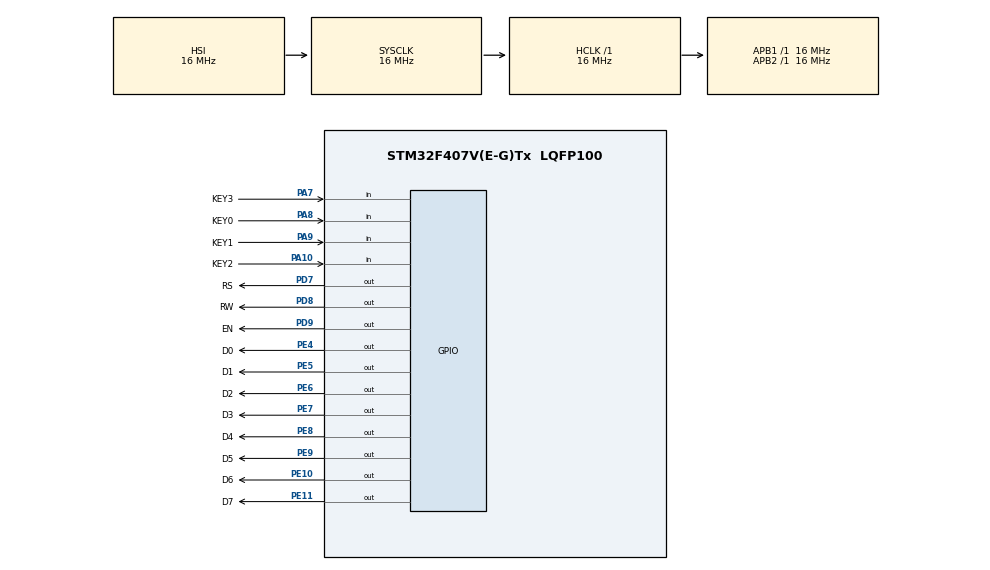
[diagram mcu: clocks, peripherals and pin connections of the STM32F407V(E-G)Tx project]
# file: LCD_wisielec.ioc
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Mcu.Family=STM32F4
Mcu.Name=STM32F407V(E-G)Tx
Mcu.Package=LQFP100
NVIC.PriorityGroup=NVIC_PRIORITYGROUP_4
NVIC.TIM1_UP_TIM10_IRQn=true\:0\:0\:false\:false\:true\:true
PA10.GPIO_Label=KEY2
PA10.GPIO_PuPd=GPIO_PULLDOWN
PA10.Signal=GPIO_Input
PA7.GPIO_Label=KEY3
PA7.GPIO_PuPd=GPIO_PULLDOWN
PA7.Signal=GPIO_Input
PA8.GPIO_Label=KEY0
PA8.GPIO_PuPd=GPIO_PULLDOWN
PA8.Signal=GPIO_Input
PA9.GPIO_Label=KEY1
PA9.GPIO_PuPd=GPIO_PULLDOWN
PA9.Signal=GPIO_Input
PD7.GPIO_Label=RS
PD7.Signal=GPIO_Output
PD8.GPIO_Label=RW
PD8.Signal=GPIO_Output
PD9.GPIO_Label=EN
PD9.Signal=GPIO_Output
PE10.GPIO_Label=D6
PE10.Signal=GPIO_Output
PE11.GPIO_Label=D7
PE11.Signal=GPIO_Output
PE4.GPIO_Label=D0
PE4.Signal=GPIO_Output
PE5.GPIO_Label=D1
PE5.Signal=GPIO_Output
PE6.GPIO_Label=D2
PE6.Signal=GPIO_Output
PE7.GPIO_Label=D3
PE7.Signal=GPIO_Output
PE8.GPIO_Label=D4
PE8.Signal=GPIO_Output
PE9.GPIO_Label=D5
PE9.Signal=GPIO_Output
PH0-OSC_IN.Mode=HSE-External-Oscillator
PH0-OSC_IN.Signal=RCC_OSC_IN
PH1-OSC_OUT.Mode=HSE-External-Oscillator
PH1-OSC_OUT.Signal=RCC_OSC_OUT
ProjectManager.HeapSize=0x200
ProjectManager.StackSize=0x400
ProjectManager.TargetToolchain=SW4STM32
RCC.48MHZClocksFreq_Value=24000000
RCC.AHBFreq_Value=16000000
RCC.APB1Freq_Value=16000000
RCC.APB1TimFreq_Value=16000000
RCC.APB2Freq_Value=16000000
RCC.APB2TimFreq_Value=16000000
RCC.CortexFreq_Value=16000000
RCC.HCLKFreq_Value=16000000
RCC.HSE_VALUE=8000000
RCC.HSI_VALUE=16000000
RCC.LSE_VALUE=32768
RCC.PLLSourceVirtual=RCC_PLLSOURCE_HSE
RCC.SYSCLKFreq_VALUE=16000000
RCC.VCOOutputFreq_Value=96000000
TIM10.Period=999
TIM10.Prescaler=255
VP_TIM10_VS_ClockSourceINT.Mode=Enable_Timer
board=LCD_wisielec

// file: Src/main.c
/**
  ******************************************************************************
  * @file           : main.c
  * @brief          : Main program body
  ******************************************************************************
  ** This notice applies to any and all portions of this file
  * that are not between comment pairs USER CODE BEGIN and
  * USER CODE END. Other portions of this file, whether
  * inserted by the user or by software development tools
  * are owned by their respective copyright owners.
  *
  * COPYRIGHT(c) 2018 STMicroelectronics
  *
  * Redistribution and use in source and binary forms, with or without modification,
  * are permitted provided that the following conditions are met:
  *   1. Redistributions of source code must retain the above copyright notice,
  *      this list of conditions and the following disclaimer.
  *   2. Redistributions in binary form must reproduce the above copyright notice,
  *      this list of conditions and the following disclaimer in the documentation
  *      and/or other materials provided with the distribution.
  *   3. Neither the name of STMicroelectronics nor the names of its contributors
  *      may be used to endorse or promote products derived from this software
  *      without specific prior written permission.
  *
  * THIS SOFTWARE IS PROVIDED BY THE COPYRIGHT HOLDERS AND CONTRIBUTORS "AS IS"
  * AND ANY EXPRESS OR IMPLIED WARRANTIES, INCLUDING, BUT NOT LIMITED TO, THE
  * IMPLIED WARRANTIES OF MERCHANTABILITY AND FITNESS FOR A PARTICULAR PURPOSE ARE
  * DISCLAIMED. IN NO EVENT SHALL THE COPYRIGHT HOLDER OR CONTRIBUTORS BE LIABLE
  * FOR ANY DIRECT, INDIRECT, INCIDENTAL, SPECIAL, EXEMPLARY, OR CONSEQUENTIAL
  * DAMAGES (INCLUDING, BUT NOT LIMITED TO, PROCUREMENT OF SUBSTITUTE GOODS OR
  * SERVICES; LOSS OF USE, DATA, OR PROFITS; OR BUSINESS INTERRUPTION) HOWEVER
  * CAUSED AND ON ANY THEORY OF LIABILITY, WHETHER IN CONTRACT, STRICT LIABILITY,
  * OR TORT (INCLUDING NEGLIGENCE OR OTHERWISE) ARISING IN ANY WAY OUT OF THE USE
  * OF THIS SOFTWARE, EVEN IF ADVISED OF THE POSSIBILITY OF SUCH DAMAGE.
  *
  ******************************************************************************
  */
#include "main.h"
#include "stm32f4xx_hal.h"

/* USER CODE BEGIN Includes */
#include "LCD.h"

/* USER CODE END Includes */

TIM_HandleTypeDef htim10;

/* USER CODE BEGIN PV */
/* Private variables ---------------------------------------------------------*/

volatile unsigned char kl_ENTER = 0;	//przycisk ENTER (KEY0)
volatile unsigned char kl_UP = 0;		//przycisk UP (KEY1)
volatile unsigned char kl_DOWN = 0;		//przycisk DOWN (KEY2)
volatile unsigned char kl_CANCEL = 0;	//przycisk CANCELv(KEY3)
volatile int licznik = 0; 	//zmienna regulujaca czestotliwosc zapalania sie i wylaczania modyfikowanej diody

union {		//do obs³ugi przycisków -> w przerwaniu ISR
 struct {
  unsigned char ENTER:1;	//LSB
  unsigned char UP:1;
  unsigned char DOWN:1;
  unsigned char CANCEL:1;
  unsigned char ENTER_PREV:1;
  unsigned char UP_PREV:1;
  unsigned char DOWN_PREV:1;
  unsigned char CANCEL_PREV:1; //MSB
 } flags;
  char byte;
} key;

union {		//do obs³ugi przycisków -> w przerwaniu ISR
 struct {
  unsigned char ENTER:1;	   //LSB
  unsigned char UP:1;
  unsigned char DOWN:1;
  unsigned char CANCEL:1;
  unsigned char ENTER_PREV:1;
  unsigned char UP_PREV:1;
  unsigned char DOWN_PREV:1;
  unsigned char CANCEL_PREV:1;
  unsigned char ENTER_PREV1:1;
  unsigned char UP_PREV1:1;
  unsigned char DOWN_PREV1:1;
  unsigned char CANCEL_PREV1:1;
  unsigned char ENTER_PREV2:1;
  unsigned char UP_PREV2:1;
  unsigned char DOWN_PREV2:1;
  unsigned char CANCEL_PREV2:1; //MSB
  } flags;
  int word;
} falling_slope;

signed char cyfry[6] = {0, 0, 0, 0, 0, 0};	//wartoœci tablicy modyfikowane s¹ przyciskami
volatile signed char kopia[6] = {0, 0, 0, 0, 0, 0};   //kopia wartosci, uzyta pozniej w przyadku przycisku CANCEL
volatile signed char enter = 0;		//zmienna przechowujaca aktualna ilosc klikniec przycisku ENTER % 5
volatile unsigned char miganie = 0;	//zmienna bezposrednio wskazujaca na zapalenie lub nie modyfikowanego znaku

/* USER CODE END PV */

void SystemClock_Config(void);
static void MX_GPIO_Init(void);
static void MX_TIM10_Init(void);

/* USER CODE BEGIN PFP */
/* Private function prototypes -----------------------------------------------*/

/* USER CODE END PFP */

int main(void)
{
  /* USER CODE BEGIN 1 */
	int znaki_hasla = 1;
	char flaga = 0;
	char haslo[10] = {0};
	char kopia_hasla[10] = {0};
	signed char znak = 0;
	char pozycja = 1;
	int numer_znaku = 0;
	unsigned char zle = 0;
	int i = 0;
	int sprawdzone_znaki = 1;
	char znaleziony_znak = 0;
	key.byte = 0xFF;   				//inicjalizacja flag stanami nieaktywnymi
	falling_slope.word = 0x0000; 	//inicjalizacja flag stanami nieaktywnymi
  /* USER CODE END 1 */

  /* MCU Configuration----------------------------------------------------------*/

  /* Reset of all peripherals, Initializes the Flash interface and the Systick. */
  HAL_Init();

  /* Configure the system clock */
  SystemClock_Config();

  /* Initialize all configured peripherals */
  MX_GPIO_Init();
  MX_TIM10_Init();
  /* USER CODE BEGIN 2 */
  HAL_TIM_Base_Start_IT(&htim10);
  init_LCD();
  define_char();

  window_1();
  /* USER CODE END 2 */

  /* Infinite loop */
  while (1)
  {

  /* USER CODE BEGIN 3 */

		if(flaga == 0)		// flaga kontroluje aktualnie wyswietlane okno na wyswietlaczu
		{			// wprowadzenie iloœci liter w haœle
			set_cursor(2, 15);
			 if(miganie == 1)
			 {
				if(znaki_hasla != 10)
					 send_LCDdata(znaki_hasla + 48);
				if(znaki_hasla == 10)
				{
					send_LCDdata(49);
					send_LCDdata(48);
				}
			 }
			 else
			 {
				if(znaki_hasla != 10)
					send_LCDdata(32);
				if(znaki_hasla == 10)
				{
					send_LCDdata(32);
					send_LCDdata(32);
				};
			 }
			if(kl_UP == 1){
				znaki_hasla++;
				kl_UP = 0;
			};
			if(kl_DOWN == 1){
				znaki_hasla--;
				kl_DOWN = 0;
			};
			if(znaki_hasla <= 0)
				znaki_hasla = 1;
			if(kl_ENTER == 1)		// zatwierdzenie liczby liter w haœle
			{
				set_cursor(2, 15);
				send_LCDdata(znaki_hasla+48);
				flaga = 1;
				kl_ENTER = 0;
			};
			if(kl_CANCEL == 1)
				kl_CANCEL = 0;
		};
		if (flaga == 1)			// rozpoczêcie odgadywania has³a
		{
			write_string_xy(3, 1, "WPROWADZ HASLO:");
			set_cursor(4, (pozycja));
			if(kl_UP == 1){
				znak++;
				kl_UP = 0;
			};
			if(kl_DOWN == 1){
				znak--;
				kl_DOWN = 0;
			};
			if(znak < 0)
				znak = 25;
			if(znak >= 26)
				znak = 0;
			 if(miganie == 1)
				send_LCDdata(znak + 97);
			 else
				send_LCDdata(32);
			if(kl_ENTER == 1)
			{
				set_cursor(4, (pozycja));
				send_LCDdata(znak + 97);
				haslo[numer_znaku] = znak + 97;
				kopia_hasla[numer_znaku] = znak + 97;
				numer_znaku++;
				pozycja++;
				znak = 0;
				kl_ENTER = 0;
			};
			if(kl_CANCEL == 1)
			{
				set_cursor(4,(pozycja));
				send_LCDdata(32);
				haslo[numer_znaku] = 0;
				kopia_hasla[numer_znaku] = 0;
				numer_znaku--;
				pozycja--;
				znak = haslo[numer_znaku] - 97;
				kl_CANCEL = 0;
			};
			if(numer_znaku < 0)
				numer_znaku = 0;
			if(pozycja<1)
				pozycja = 1;
			if((pozycja - 1) >= znaki_hasla)
			{
				send_LCDinstr(LCD_CLEAR);
				flaga++;
				znak = 0;
				pozycja = 1;
				numer_znaku = 0;
				write_string_xy(3, 1, "LITERA:");
				set_cursor(4, 1);
				send_LCDdata(haslo[0]);
				for(i = 1; i < znaki_hasla; i++)
				{
					send_LCDdata(2);
				};
			};
		};
		if(flaga ==2 )
		{
			set_cursor(3, 8);
			if(kl_UP == 1){
				znak++;
				kl_UP = 0;
			};
			if(kl_DOWN == 1){
				znak--;
				kl_DOWN = 0;
			};
			if(znak < 0)
				znak = 25;
			if(znak >= 26)
				znak = 0;
			 if(miganie == 1)
				send_LCDdata(znak + 97);
			 else
				send_LCDdata(32);
			if(kl_ENTER == 1)
			{
				for (i = 1; i < znaki_hasla; i++)
				{
					if((znak + 97) == haslo[i])
					{
						set_cursor(4, i + 1);
						send_LCDdata(znak + 97);
						sprawdzone_znaki++;
						znaleziony_znak = 1;
						haslo[i] = 0;
					};
				};
				if(sprawdzone_znaki == (znaki_hasla))
				{
					znak = 0;
					zle = 0;
					flaga = 4;
					send_LCDinstr(LCD_CLEAR);
					write_string_xy(1, 3, "HASLO POPRAWNE");
					write_string_xy(2, 5, "GRATULACJE!");
					write_string_xy(3, 5, "NOWE HASLO:");
					write_string_xy(4, 7, "[ENTER]");
					sprawdzone_znaki = 1;
				};
					if(znaleziony_znak == 0)
					{
						if(zle == 0)
						{
							set_cursor(1, 1);
							send_LCDdata(0);
						};
						if(zle == 1)
						{
							set_cursor(2, 1);
							send_LCDdata(1);
						};
						if((zle > 1) && (zle < 20))
						{
							set_cursor(1, zle);
							send_LCDdata(2);
						};
						if((zle >= 21) && (zle < 23))
						{
							set_cursor((zle - 19), 20);
							send_LCDdata(3);
						};
						if((zle >= 23) && (zle < 27))
						{
							set_cursor(3, (42 - zle));
							send_LCDdata(2);
						};
						if(zle == 27)
						{
							set_cursor(3, 15);
							send_LCDdata(4);
							set_cursor(4, 15);
							send_LCDdata(5);
						};
						if(zle == 28)
						{
							set_cursor(3, 14);
							send_LCDdata(2);
							set_cursor(4, 14);
							send_LCDdata(6);
						};
						if(zle == 29)
						{
							set_cursor(3, 13);
							send_LCDdata(0);
						};
						if(zle == 30)
						{
							set_cursor(4, 13);
							send_LCDdata(1);
						};
						if(zle == 31)
						{
							set_cursor(3, 12);
							send_LCDdata(2);
							set_cursor(4, 12);
							send_LCDdata(6);
						};
						if(zle == 32)
						{
							set_cursor(3, 11);
							send_LCDdata(0);
						};
						if(zle == 33)
						{
							set_cursor(4, 11);
							send_LCDdata(1);
							HAL_Delay(5000);
							send_LCDinstr(LCD_CLEAR);
							write_string_xy(1, 5, "PRZEGRYWASZ");
							flaga++;
						};
						zle++;
				};
				znaleziony_znak = 0;
				kl_ENTER = 0;
			};
			if(kl_CANCEL == 1)
				kl_CANCEL = 0;
		};
		if(flaga == 3)
		{
			write_string_xy(2, 2, "NOWE");
			write_string_xy(3, 1, "HASLO:");
			write_string_xy(4, 1, "[CANCEL]");
			write_string_xy(2, 12, "KOLEJNA");
			write_string_xy(3, 13, "PROBA:");
			write_string_xy(4, 12, "[ENTER]");
			if(kl_ENTER == 1)
			{
				flaga = 2;
				send_LCDinstr(LCD_CLEAR);
				pozycja = 1;
				znak = 0;
				zle = 0;
				kl_ENTER = 0;
				sprawdzone_znaki = 1;
				for(i = 0; i < 8; i++)
					haslo[i] = kopia_hasla[i];
				write_string_xy(3, 1, "LITERA:");
				set_cursor(4, 1);
				send_LCDdata(haslo[0]);
				for(i = 1; i < znaki_hasla; i++)
					send_LCDdata(2);
			};
			if(kl_CANCEL == 1)
			{
				flaga = 0;
				pozycja = 4;
				znak = 0;
				zle = 0;
				send_LCDinstr(LCD_CLEAR);
				window_1();
				kl_CANCEL = 0;
			};
		};
		if (flaga == 4)
		{
			if(kl_ENTER)
			{
				send_LCDinstr(LCD_CLEAR);
				window_1();
				flaga = 0;
				kl_ENTER = 0;
			};
			if(kl_CANCEL == 1)
				kl_CANCEL = 0;
			if(kl_UP == 1)
				kl_UP = 0;
			if(kl_DOWN == 1)
				kl_DOWN = 0;
		};
  };

  /* USER CODE END 3 */

};

void SystemClock_Config(void)
{

  RCC_OscInitTypeDef RCC_OscInitStruct;
  RCC_ClkInitTypeDef RCC_ClkInitStruct;

    /**Configure the main internal regulator output voltage
    */
  __HAL_RCC_PWR_CLK_ENABLE();

  __HAL_PWR_VOLTAGESCALING_CONFIG(PWR_REGULATOR_VOLTAGE_SCALE1);

    /**Initializes the CPU, AHB and APB busses clocks
    */
  RCC_OscInitStruct.OscillatorType = RCC_OSCILLATORTYPE_HSI;
  RCC_OscInitStruct.HSIState = RCC_HSI_ON;
  RCC_OscInitStruct.HSICalibrationValue = 16;
  RCC_OscInitStruct.PLL.PLLState = RCC_PLL_NONE;
  if (HAL_RCC_OscConfig(&RCC_OscInitStruct) != HAL_OK)
  {
    _Error_Handler(__FILE__, __LINE__);
  }

    /**Initializes the CPU, AHB and APB busses clocks
    */
  RCC_ClkInitStruct.ClockType = RCC_CLOCKTYPE_HCLK|RCC_CLOCKTYPE_SYSCLK
                              |RCC_CLOCKTYPE_PCLK1|RCC_CLOCKTYPE_PCLK2;
  RCC_ClkInitStruct.SYSCLKSource = RCC_SYSCLKSOURCE_HSI;
  RCC_ClkInitStruct.AHBCLKDivider = RCC_SYSCLK_DIV1;
  RCC_ClkInitStruct.APB1CLKDivider = RCC_HCLK_DIV1;
  RCC_ClkInitStruct.APB2CLKDivider = RCC_HCLK_DIV1;

  if (HAL_RCC_ClockConfig(&RCC_ClkInitStruct, FLASH_LATENCY_0) != HAL_OK)
  {
    _Error_Handler(__FILE__, __LINE__);
  }

    /**Configure the Systick interrupt time
    */
  HAL_SYSTICK_Config(HAL_RCC_GetHCLKFreq()/1000);

    /**Configure the Systick
    */
  HAL_SYSTICK_CLKSourceConfig(SYSTICK_CLKSOURCE_HCLK);

  /* SysTick_IRQn interrupt configuration */
  HAL_NVIC_SetPriority(SysTick_IRQn, 0, 0);
}

/* TIM10 init function */
static void MX_TIM10_Init(void)
{

  htim10.Instance = TIM10;
  htim10.Init.Prescaler = 255;
  htim10.Init.CounterMode = TIM_COUNTERMODE_UP;
  htim10.Init.Period = 999;
  htim10.Init.ClockDivision = TIM_CLOCKDIVISION_DIV1;
  if (HAL_TIM_Base_Init(&htim10) != HAL_OK)
  {
    _Error_Handler(__FILE__, __LINE__);
  }

}

/** Configure pins as
        * Analog
        * Input
        * Output
        * EVENT_OUT
        * EXTI
*/
static void MX_GPIO_Init(void)
{

  GPIO_InitTypeDef GPIO_InitStruct;

  /* GPIO Ports Clock Enable */
  __HAL_RCC_GPIOE_CLK_ENABLE();
  __HAL_RCC_GPIOH_CLK_ENABLE();
  __HAL_RCC_GPIOA_CLK_ENABLE();
  __HAL_RCC_GPIOD_CLK_ENABLE();

  /*Configure GPIO pin Output Level */
  HAL_GPIO_WritePin(GPIOE, D0_Pin|D1_Pin|D2_Pin|D3_Pin
                          |D4_Pin|D5_Pin|D6_Pin|D7_Pin, GPIO_PIN_RESET);

  /*Configure GPIO pin Output Level */
  HAL_GPIO_WritePin(GPIOD, RW_Pin|EN_Pin|RS_Pin, GPIO_PIN_RESET);

  /*Configure GPIO pins : D0_Pin D1_Pin D2_Pin D3_Pin
                           D4_Pin D5_Pin D6_Pin D7_Pin */
  GPIO_InitStruct.Pin = D0_Pin|D1_Pin|D2_Pin|D3_Pin
                          |D4_Pin|D5_Pin|D6_Pin|D7_Pin;
  GPIO_InitStruct.Mode = GPIO_MODE_OUTPUT_PP;
  GPIO_InitStruct.Pull = GPIO_NOPULL;
  GPIO_InitStruct.Speed = GPIO_SPEED_FREQ_LOW;
  HAL_GPIO_Init(GPIOE, &GPIO_InitStruct);

  /*Configure GPIO pins : KEY3_Pin KEY0_Pin KEY1_Pin KEY2_Pin */
  GPIO_InitStruct.Pin = KEY3_Pin|KEY0_Pin|KEY1_Pin|KEY2_Pin;
  GPIO_InitStruct.Mode = GPIO_MODE_INPUT;
  GPIO_InitStruct.Pull = GPIO_PULLDOWN;
  HAL_GPIO_Init(GPIOA, &GPIO_InitStruct);

  /*Configure GPIO pins : RW_Pin EN_Pin RS_Pin */
  GPIO_InitStruct.Pin = RW_Pin|EN_Pin|RS_Pin;
  GPIO_InitStruct.Mode = GPIO_MODE_OUTPUT_PP;
  GPIO_InitStruct.Pull = GPIO_NOPULL;
  GPIO_InitStruct.Speed = GPIO_SPEED_FREQ_LOW;
  HAL_GPIO_Init(GPIOD, &GPIO_InitStruct);

}

/* USER CODE BEGIN 4 */

void HAL_TIM_PeriodElapsedCallback(TIM_HandleTypeDef *htim)
{
	if(htim->Instance == TIM10)				// Zabezpieczenie przed wp³ywem zak³óceñ na stan wejœc z przycisków
	{
		key.byte=(key.byte << 4);// przesuwaj¹c w lew¹ stronê bity z do³u uzupe³niane s¹ zerami
		//ustawienie jedynek na pozycjach od 0 do 3 w przypadku odczytania zer z odpowiednich wejœæ KEYx
			key.byte |= ((HAL_GPIO_ReadPin(KEY0_GPIO_Port, KEY0_Pin)==GPIO_PIN_SET)|((HAL_GPIO_ReadPin(KEY1_GPIO_Port, KEY1_Pin)==GPIO_PIN_SET) << 1)|((HAL_GPIO_ReadPin(KEY2_GPIO_Port, KEY2_Pin)==GPIO_PIN_SET) << 2)|((HAL_GPIO_ReadPin(KEY3_GPIO_Port, KEY3_Pin)==GPIO_PIN_SET) << 3));
			falling_slope.word = (falling_slope.word << 4);

			if(key.flags.ENTER)			 //czy wciœniêty jest przycisk ENTER?
			{
				if(!key.flags.ENTER_PREV)
					falling_slope.flags.ENTER = 1; //Czy wykryto zbocze opadaj¹ce
				if(falling_slope.flags.ENTER_PREV2)
				{
					kl_ENTER = 1; //Czy od chwili wykrycia zbocza opadaj¹cego up³ynê³y 3 przerwania z wciœniêtym przyciskiem
					enter++;
				}
			}
			else
			{
				falling_slope.word &= 0xEEEE;  //wyzerowanie flag dla przycisku ENTER potwierdzaj¹cych wykrycie zbocza opadaj¹cego
			};

			if(key.flags.UP)
			{  //czy wciœniêty jest przycisk UP?
				if(!key.flags.UP_PREV)
					falling_slope.flags.UP = 1; //Czy wykryto zbocze opadaj¹ce
				if(falling_slope.flags.UP_PREV2)
					kl_UP = 1; //Czy od chwili wykrycia zbocza opadaj¹cego up³ynê³y 3 przerwania z wciœniêtym przyciskiem
			}
			else
			{
				falling_slope.word &= 0xDDDD;  //wyzerowanie flag dla przycisku UP potwierdzaj¹cych wykrycie zbocza opadaj¹cego
			};

			if(key.flags.DOWN)
			{  //czy wciœniêty jest przycisk DOWN?
				if(!key.flags.DOWN_PREV)
					falling_slope.flags.DOWN = 1; //Czy wykryto zbocze opadaj¹ce
				if(falling_slope.flags.DOWN_PREV2)
					kl_DOWN = 1; //Czy od chwili wykrycia zbocza opadaj¹cego up³ynê³y 3 przerwania z wciœniêtym przyciskiem
			}
			else
			{
				falling_slope.word &= 0xBBBB;  //wyzerowanie flag dla przycisku DOWN potwierdzaj¹cych wykrycie zbocza opadaj¹cego
			};

			if(key.flags.CANCEL)
			{  //czy wciœniêty jest przycisk CANCEL?
				if(!key.flags.CANCEL_PREV)
					falling_slope.flags.CANCEL = 1;  //Czy wykryto zbocze opadaj¹ce
				if(falling_slope.flags.CANCEL_PREV2)
					kl_CANCEL = 1;  //Czy od chwili wykrycia zbocza opadaj¹cego up³ynê³y 3 przerwania z wciœniêtym przyciskiem
			}
			else
			{
				falling_slope.word &= 0x7777;  //wyzerowanie flag dla przycisku CANCEL potwierdzaj¹cych wykrycie zbocza opadaj¹cego
			};
			if(licznik == 62)	//czy minê³a sekunda?
			{
				licznik = 0;		//reset licznika
				miganie = !miganie;		//zmiana stanu modyfikowanego znaku
			}

			licznik++;
	};
};
/* USER CODE END 4 */

void _Error_Handler(char *file, int line)
{
  while(1)
  {
  }
}

/************************ (C) COPYRIGHT STMicroelectronics *****END OF FILE****/
